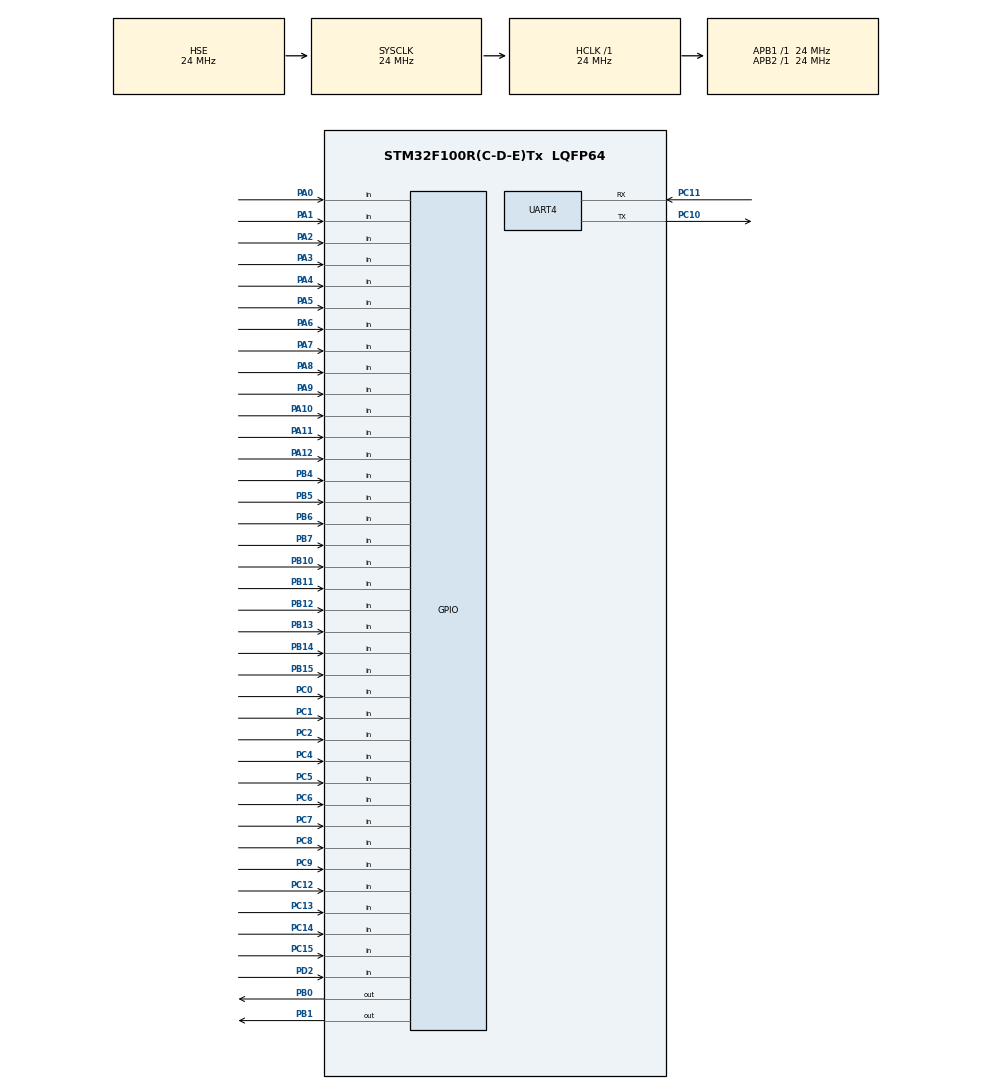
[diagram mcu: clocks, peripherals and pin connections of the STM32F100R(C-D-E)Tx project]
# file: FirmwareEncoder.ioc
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Mcu.Family=STM32F1
Mcu.Name=STM32F100R(C-D-E)Tx
Mcu.Package=LQFP64
NVIC.PriorityGroup=NVIC_PRIORITYGROUP_4
NVIC.TIM6_DAC_IRQn=true\:0\:0\:false\:false\:true\:true
NVIC.UART4_IRQn=true\:0\:0\:false\:false\:true\:true
PA0-WKUP.Signal=GPIO_Input
PA1.Signal=GPIO_Input
PA10.Signal=GPIO_Input
PA11.Signal=GPIO_Input
PA12.Signal=GPIO_Input
PA2.Signal=GPIO_Input
PA3.Signal=GPIO_Input
PA4.Signal=GPIO_Input
PA5.Signal=GPIO_Input
PA6.Signal=GPIO_Input
PA7.Signal=GPIO_Input
PA8.Signal=GPIO_Input
PA9.Signal=GPIO_Input
PB0.Signal=GPIO_Output
PB1.Signal=GPIO_Output
PB10.Signal=GPIO_Input
PB11.Signal=GPIO_Input
PB12.Signal=GPIO_Input
PB13.Signal=GPIO_Input
PB14.Signal=GPIO_Input
PB15.Signal=GPIO_Input
PB4.Signal=GPIO_Input
PB5.Signal=GPIO_Input
PB6.Signal=GPIO_Input
PB7.Signal=GPIO_Input
PC0.Signal=GPIO_Input
PC1.Signal=GPIO_Input
PC10.Mode=Asynchronous
PC10.Signal=UART4_TX
PC11.Mode=Asynchronous
PC11.Signal=UART4_RX
PC12.Signal=GPIO_Input
PC13-TAMPER-RTC.Signal=GPIO_Input
PC14-OSC32_IN.Signal=GPIO_Input
PC15-OSC32_OUT.Signal=GPIO_Input
PC2.Signal=GPIO_Input
PC4.Signal=GPIO_Input
PC5.Signal=GPIO_Input
PC6.Signal=GPIO_Input
PC7.Signal=GPIO_Input
PC8.Signal=GPIO_Input
PC9.Signal=GPIO_Input
PD0-OSC_IN.Mode=HSE-External-Oscillator
PD0-OSC_IN.Signal=RCC_OSC_IN
PD1-OSC_OUT.Mode=HSE-External-Oscillator
PD1-OSC_OUT.Signal=RCC_OSC_OUT
PD2.Signal=GPIO_Input
ProjectManager.HeapSize=0x200
ProjectManager.StackSize=0x400
ProjectManager.TargetToolchain=MDK-ARM V5
RCC.AHBFreq_Value=24000000
RCC.APB1Freq_Value=24000000
RCC.APB1TimFreq_Value=24000000
RCC.APB2Freq_Value=24000000
RCC.APB2TimFreq_Value=24000000
RCC.HCLKFreq_Value=24000000
RCC.HSE_VALUE=24000000
RCC.SYSCLKFreq_VALUE=24000000
RCC.SYSCLKSource=RCC_SYSCLKSOURCE_HSE
TIM6.Period=49
TIM6.Prescaler=23
UART4.VirtualMode=Asynchronous
VP_SYS_VS_ND.Mode=No_Debug
VP_TIM3_VS_ClockSourceINT.Mode=Internal
VP_TIM6_VS_ClockSourceINT.Mode=Enable_Timer
board=FirmwareEncoder

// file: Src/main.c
/**
  ******************************************************************************
  * File Name          : main.c
  * Description        : Main program body
  ******************************************************************************
  ** This notice applies to any and all portions of this file
  * that are not between comment pairs USER CODE BEGIN and
  * USER CODE END. Other portions of this file, whether
  * inserted by the user or by software development tools
  * are owned by their respective copyright owners.
  *
  * COPYRIGHT(c) 2017 STMicroelectronics
  *
  * Redistribution and use in source and binary forms, with or without modification,
  * are permitted provided that the following conditions are met:
  *   1. Redistributions of source code must retain the above copyright notice,
  *      this list of conditions and the following disclaimer.
  *   2. Redistributions in binary form must reproduce the above copyright notice,
  *      this list of conditions and the following disclaimer in the documentation
  *      and/or other materials provided with the distribution.
  *   3. Neither the name of STMicroelectronics nor the names of its contributors
  *      may be used to endorse or promote products derived from this software
  *      without specific prior written permission.
  *
  * THIS SOFTWARE IS PROVIDED BY THE COPYRIGHT HOLDERS AND CONTRIBUTORS "AS IS"
  * AND ANY EXPRESS OR IMPLIED WARRANTIES, INCLUDING, BUT NOT LIMITED TO, THE
  * IMPLIED WARRANTIES OF MERCHANTABILITY AND FITNESS FOR A PARTICULAR PURPOSE ARE
  * DISCLAIMED. IN NO EVENT SHALL THE COPYRIGHT HOLDER OR CONTRIBUTORS BE LIABLE
  * FOR ANY DIRECT, INDIRECT, INCIDENTAL, SPECIAL, EXEMPLARY, OR CONSEQUENTIAL
  * DAMAGES (INCLUDING, BUT NOT LIMITED TO, PROCUREMENT OF SUBSTITUTE GOODS OR
  * SERVICES; LOSS OF USE, DATA, OR PROFITS; OR BUSINESS INTERRUPTION) HOWEVER
  * CAUSED AND ON ANY THEORY OF LIABILITY, WHETHER IN CONTRACT, STRICT LIABILITY,
  * OR TORT (INCLUDING NEGLIGENCE OR OTHERWISE) ARISING IN ANY WAY OUT OF THE USE
  * OF THIS SOFTWARE, EVEN IF ADVISED OF THE POSSIBILITY OF SUCH DAMAGE.
  *
  ******************************************************************************
  */

#include "main.h"
#include "stm32f1xx_hal.h"

/* USER CODE BEGIN Includes */
#include "stdbool.h"
#include "string.h"
/* USER CODE END Includes */

TIM_HandleTypeDef htim3;
TIM_HandleTypeDef htim6;

UART_HandleTypeDef huart4;

/* USER CODE BEGIN PV */
/* Private variables ---------------------------------------------------------*/
unsigned int cnt = 0;
unsigned int cnt_ccw = 0;
unsigned int cnt_cw = 0;
int val[19];
char sendstring[8] = "Hello";

volatile bool a[19];
volatile bool b[19];
volatile unsigned int timecount;
enum state{S0,S1,S2,S3};
enum state my_state = S0;
/* USER CODE END PV */

void SystemClock_Config(void);
static void MX_GPIO_Init(void);
static void MX_UART4_Init(void);
static void MX_TIM3_Init(void);
static void MX_TIM6_Init(void);

/* USER CODE BEGIN PFP */
/* Private function prototypes -----------------------------------------------*/
int encode(char index);
/* USER CODE END PFP */

/* USER CODE BEGIN 0 */
int encode(char index){//Funktion für die Encoderauswertung

	switch(my_state){
			case S0:
				timecount = TIMECOUNT;
				if(a[index] == 0 && b[index] == 1)my_state = S1;
				if(a[index] == 1 && b[index] == 0)my_state = S3;
			break;

			case S1:

				if(a[index] == 0 && b[index] == 0)my_state = S2;
				if(a[index] == 1 && b[index] == 1){
					my_state = S0;
					val[index]--;
				}
			break;

			case S2:

				if(a[index] == 1 && b[index] == 0)my_state = S3;
				if(a[index] == 0 && b[index] == 1)my_state = S1;
			break;

			case S3:
				if(a[index] == 1 && b[index] == 1){
					my_state = S0;
					val[index]++;
				}
				if(a[index] == 0 && b[index] == 0)my_state = S2;
			break;
		}
		return val[index];
}

void resetincval(char index){
	val[index] = 0;
}
/* USER CODE END 0 */

int main(void)
{

  /* MCU Configuration----------------------------------------------------------*/

  /* Reset of all peripherals, Initializes the Flash interface and the Systick. */
  HAL_Init();

  /* Configure the system clock */
  SystemClock_Config();

  /* Initialize all configured peripherals */
  MX_GPIO_Init();
  MX_UART4_Init();
  MX_TIM3_Init();
  MX_TIM6_Init();

  /* USER CODE BEGIN 2 */
	HAL_TIM_Base_Start_IT(&htim6);
  /* USER CODE END 2 */

  /* Infinite loop */
  /* USER CODE BEGIN WHILE */
  while (1)
  {
		cnt_cw = encode(INC_MAGENTA);
		strcpy(sendstring,"cnt_cw");

		if(cnt_cw <= 10)HAL_GPIO_WritePin(GPIOB, GPIO_PIN_0, GPIO_PIN_SET);else{HAL_GPIO_WritePin(GPIOB, GPIO_PIN_0, GPIO_PIN_RESET);}
		//if(HAL_GPIO_ReadPin(IncA_port_magenta, IncA_pin_magenta))HAL_GPIO_WritePin(GPIOB, GPIO_PIN_0, GPIO_PIN_SET);else{HAL_GPIO_WritePin(GPIOB, GPIO_PIN_0, GPIO_PIN_RESET);}

		//if(a[Inc_magenta])HAL_GPIO_WritePin(GPIOB, GPIO_PIN_0, GPIO_PIN_SET);else{HAL_GPIO_WritePin(GPIOB, GPIO_PIN_0, GPIO_PIN_RESET);}
		//if(cnt_cw & 0x02)HAL_GPIO_WritePin(GPIOB, GPIO_PIN_1, GPIO_PIN_SET);else{HAL_GPIO_WritePin(GPIOB, GPIO_PIN_1, GPIO_PIN_RESET);}

  /* USER CODE END WHILE */

  }

}

/** System Clock Configuration
*/
void SystemClock_Config(void)
{

  RCC_OscInitTypeDef RCC_OscInitStruct;
  RCC_ClkInitTypeDef RCC_ClkInitStruct;

    /**Initializes the CPU, AHB and APB busses clocks
    */
  RCC_OscInitStruct.OscillatorType = RCC_OSCILLATORTYPE_HSE;
  RCC_OscInitStruct.HSEState = RCC_HSE_ON;
  RCC_OscInitStruct.PLL.PLLState = RCC_PLL_NONE;
  if (HAL_RCC_OscConfig(&RCC_OscInitStruct) != HAL_OK)
  {
    _Error_Handler(__FILE__, __LINE__);
  }

    /**Initializes the CPU, AHB and APB busses clocks
    */
  RCC_ClkInitStruct.ClockType = RCC_CLOCKTYPE_HCLK|RCC_CLOCKTYPE_SYSCLK
                              |RCC_CLOCKTYPE_PCLK1|RCC_CLOCKTYPE_PCLK2;
  RCC_ClkInitStruct.SYSCLKSource = RCC_SYSCLKSOURCE_HSE;
  RCC_ClkInitStruct.AHBCLKDivider = RCC_SYSCLK_DIV1;
  RCC_ClkInitStruct.APB1CLKDivider = RCC_HCLK_DIV1;
  RCC_ClkInitStruct.APB2CLKDivider = RCC_HCLK_DIV1;

  if (HAL_RCC_ClockConfig(&RCC_ClkInitStruct, FLASH_LATENCY_0) != HAL_OK)
  {
    _Error_Handler(__FILE__, __LINE__);
  }

    /**Configure the Systick interrupt time
    */
  HAL_SYSTICK_Config(HAL_RCC_GetHCLKFreq()/1000);

    /**Configure the Systick
    */
  HAL_SYSTICK_CLKSourceConfig(SYSTICK_CLKSOURCE_HCLK);

  /* SysTick_IRQn interrupt configuration */
  HAL_NVIC_SetPriority(SysTick_IRQn, 0, 0);
}

/* TIM3 init function */
static void MX_TIM3_Init(void)
{

  TIM_ClockConfigTypeDef sClockSourceConfig;
  TIM_MasterConfigTypeDef sMasterConfig;

  htim3.Instance = TIM3;
  htim3.Init.Prescaler = 0;
  htim3.Init.CounterMode = TIM_COUNTERMODE_UP;
  htim3.Init.Period = 0;
  htim3.Init.ClockDivision = TIM_CLOCKDIVISION_DIV1;
  htim3.Init.AutoReloadPreload = TIM_AUTORELOAD_PRELOAD_DISABLE;
  if (HAL_TIM_Base_Init(&htim3) != HAL_OK)
  {
    _Error_Handler(__FILE__, __LINE__);
  }

  sClockSourceConfig.ClockSource = TIM_CLOCKSOURCE_INTERNAL;
  if (HAL_TIM_ConfigClockSource(&htim3, &sClockSourceConfig) != HAL_OK)
  {
    _Error_Handler(__FILE__, __LINE__);
  }

  sMasterConfig.MasterOutputTrigger = TIM_TRGO_RESET;
  sMasterConfig.MasterSlaveMode = TIM_MASTERSLAVEMODE_DISABLE;
  if (HAL_TIMEx_MasterConfigSynchronization(&htim3, &sMasterConfig) != HAL_OK)
  {
    _Error_Handler(__FILE__, __LINE__);
  }

}

/* TIM6 init function */
static void MX_TIM6_Init(void)
{

  TIM_MasterConfigTypeDef sMasterConfig;

  htim6.Instance = TIM6;
  htim6.Init.Prescaler = 23;
  htim6.Init.CounterMode = TIM_COUNTERMODE_UP;
  htim6.Init.Period = 49;
  htim6.Init.AutoReloadPreload = TIM_AUTORELOAD_PRELOAD_DISABLE;
  if (HAL_TIM_Base_Init(&htim6) != HAL_OK)
  {
    _Error_Handler(__FILE__, __LINE__);
  }

  sMasterConfig.MasterOutputTrigger = TIM_TRGO_RESET;
  sMasterConfig.MasterSlaveMode = TIM_MASTERSLAVEMODE_DISABLE;
  if (HAL_TIMEx_MasterConfigSynchronization(&htim6, &sMasterConfig) != HAL_OK)
  {
    _Error_Handler(__FILE__, __LINE__);
  }

}

/* UART4 init function */
static void MX_UART4_Init(void)
{

  huart4.Instance = UART4;
  huart4.Init.BaudRate = 115200;
  huart4.Init.WordLength = UART_WORDLENGTH_8B;
  huart4.Init.StopBits = UART_STOPBITS_1;
  huart4.Init.Parity = UART_PARITY_NONE;
  huart4.Init.Mode = UART_MODE_TX_RX;
  huart4.Init.HwFlowCtl = UART_HWCONTROL_NONE;
  huart4.Init.OverSampling = UART_OVERSAMPLING_16;
  if (HAL_UART_Init(&huart4) != HAL_OK)
  {
    _Error_Handler(__FILE__, __LINE__);
  }

}

/** Configure pins as
        * Analog
        * Input
        * Output
        * EVENT_OUT
        * EXTI
*/
static void MX_GPIO_Init(void)
{

  GPIO_InitTypeDef GPIO_InitStruct;

  /* GPIO Ports Clock Enable */
  __HAL_RCC_GPIOC_CLK_ENABLE();
  __HAL_RCC_GPIOD_CLK_ENABLE();
  __HAL_RCC_GPIOA_CLK_ENABLE();
  __HAL_RCC_GPIOB_CLK_ENABLE();

  /*Configure GPIO pin Output Level */
  HAL_GPIO_WritePin(GPIOB, GPIO_PIN_0|GPIO_PIN_1, GPIO_PIN_RESET);

  /*Configure GPIO pins : PC13 PC14 PC15 PC0
                           PC1 PC2 PC4 PC5
                           PC6 PC7 PC8 PC9
                           PC12 */
  GPIO_InitStruct.Pin = GPIO_PIN_13|GPIO_PIN_14|GPIO_PIN_15|GPIO_PIN_0
                          |GPIO_PIN_1|GPIO_PIN_2|GPIO_PIN_4|GPIO_PIN_5
                          |GPIO_PIN_6|GPIO_PIN_7|GPIO_PIN_8|GPIO_PIN_9
                          |GPIO_PIN_12;
  GPIO_InitStruct.Mode = GPIO_MODE_INPUT;
  GPIO_InitStruct.Pull = GPIO_NOPULL;
  HAL_GPIO_Init(GPIOC, &GPIO_InitStruct);

  /*Configure GPIO pins : PA0 PA1 PA2 PA3
                           PA4 PA5 PA6 PA7
                           PA8 PA9 PA10 PA11
                           PA12 */
  GPIO_InitStruct.Pin = GPIO_PIN_0|GPIO_PIN_1|GPIO_PIN_2|GPIO_PIN_3
                          |GPIO_PIN_4|GPIO_PIN_5|GPIO_PIN_6|GPIO_PIN_7
                          |GPIO_PIN_8|GPIO_PIN_9|GPIO_PIN_10|GPIO_PIN_11
                          |GPIO_PIN_12;
  GPIO_InitStruct.Mode = GPIO_MODE_INPUT;
  GPIO_InitStruct.Pull = GPIO_NOPULL;
  HAL_GPIO_Init(GPIOA, &GPIO_InitStruct);

  /*Configure GPIO pins : PB0 PB1 */
  GPIO_InitStruct.Pin = GPIO_PIN_0|GPIO_PIN_1;
  GPIO_InitStruct.Mode = GPIO_MODE_OUTPUT_PP;
  GPIO_InitStruct.Speed = GPIO_SPEED_FREQ_LOW;
  HAL_GPIO_Init(GPIOB, &GPIO_InitStruct);

  /*Configure GPIO pins : PB10 PB11 PB12 PB13
                           PB14 PB15 PB4 PB5
                           PB6 PB7 */
  GPIO_InitStruct.Pin = GPIO_PIN_10|GPIO_PIN_11|GPIO_PIN_12|GPIO_PIN_13
                          |GPIO_PIN_14|GPIO_PIN_15|GPIO_PIN_4|GPIO_PIN_5
                          |GPIO_PIN_6|GPIO_PIN_7;
  GPIO_InitStruct.Mode = GPIO_MODE_INPUT;
  GPIO_InitStruct.Pull = GPIO_NOPULL;
  HAL_GPIO_Init(GPIOB, &GPIO_InitStruct);

  /*Configure GPIO pin : PD2 */
  GPIO_InitStruct.Pin = GPIO_PIN_2;
  GPIO_InitStruct.Mode = GPIO_MODE_INPUT;
  GPIO_InitStruct.Pull = GPIO_NOPULL;
  HAL_GPIO_Init(GPIOD, &GPIO_InitStruct);

}

void _Error_Handler(char * file, int line)
{
  while(1)
  {
  }
}

/************************ (C) COPYRIGHT STMicroelectronics *****END OF FILE****/
